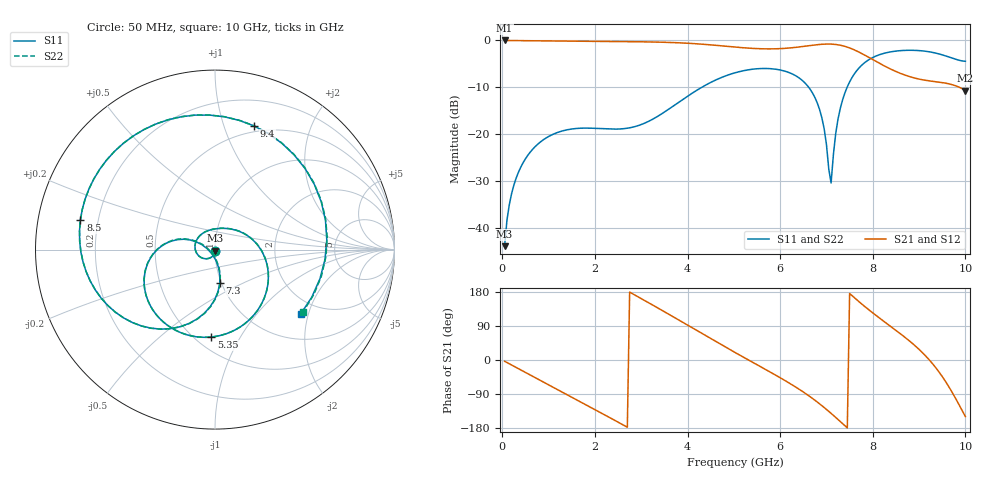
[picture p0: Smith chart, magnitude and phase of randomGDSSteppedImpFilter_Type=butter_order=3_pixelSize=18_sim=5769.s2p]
! freq	dB(S11)	phase(S11)	dB(S12)	phase(S12)
!  dB(S21)	phase(S21)	dB(S22)	phase(S22)
!S-par simulation data
#  GHz  S  DB  R 50
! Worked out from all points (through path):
!   200 points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, 50 MHz to 10 GHz, reference 50 ohm
!   highest |S21| = -0.02 dB at 50 MHz (marker M1); lowest = -10.7 dB at 10 GHz (marker M2)
!   lowest |S11| = -44.0 dB at 50 MHz (marker M3), VSWR 1.01, Z = 50.2 - j0.607 ohm
!   |S11| at or under -10 dB: start of sweep to 4.313 GHz; 6.613 GHz to 7.447 GHz (833.8 MHz wide, 11.9 % of centre)
!   |S22| runs from -44.0 to -2.1 dB; largest |S21 - S12| = 0
!   S11 on the Smith chart (normalised r, x): 50 MHz: 1.00, -0.01; 5.35 GHz: 0.60, -0.76; 7.3 GHz: 0.98, -0.38; 8.5 GHz: 0.13, +0.11; 9.4 GHz: 0.44, +1.27; 10 GHz: 1.60, -1.79
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0.05  -43.98 -72.9  -0.02 -3.3  -0.02 -3.3  -43.98 -73.0
0.2  -32.79 -97.2  -0.04 -13.1  -0.04 -13.1  -32.78 -97.1
0.5  -25.31 -121.3  -0.07 -32.7  -0.07 -32.7  -25.31 -121.2
1.15  -19.84 -165.6  -0.15 -75.0  -0.15 -75.0  -19.84 -165.3
1.75  -18.76 154.5  -0.20 -114.2  -0.20 -114.2  -18.75 155.1
2.6  -18.90 97.4  -0.26 -170.7  -0.26 -170.7  -18.89 98.3
3.4  -15.97 42.6  -0.39 134.4  -0.39 134.4  -15.97 43.3
4.15  -10.98 -9.7  -0.71 81.4  -0.71 81.4  -10.98 -9.4
5.05  -6.87 -72.1  -1.46 18.2  -1.46 18.2  -6.87 -72.1
5.35  -6.24 -92.3  -1.69 -2.3  -1.69 -2.3  -6.24 -92.4
6.05  -6.44 -139.5  -1.74 -50.3  -1.74 -50.3  -6.45 -139.7
6.7  -11.27 172.5  -1.05 -101.6  -1.05 -101.6  -11.28 171.9
6.95  -18.89 157.4  -0.81 -125.3  -0.81 -125.3  -18.94 156.1
7.1  -30.50 -121.8  -0.80 -140.8  -0.80 -140.8  -31.26 -120.0
7.3  -14.48 -81.9  -1.04 -162.5  -1.04 -162.5  -14.50 -81.2
7.8  -4.97 -129.1  -3.02 143.8  -3.02 143.8  -4.98 -129.0
8.35  -2.53 -179.1  -5.97 92.0  -5.97 92.0  -2.53 -179.1
8.5  -2.29 167.7  -6.66 78.3  -6.66 78.3  -2.30 167.7
9.05  -2.23 115.3  -8.38 22.1  -8.38 22.1  -2.23 115.4
9.4  -2.82 72.5  -8.89 -26.6  -8.89 -26.6  -2.81 72.9
9.75  -3.92 14.8  -9.58 -92.9  -9.58 -92.9  -3.87 16.0
10  -4.48 -37.0  -10.73 -149.4  -10.73 -149.4  -4.42 -35.1
